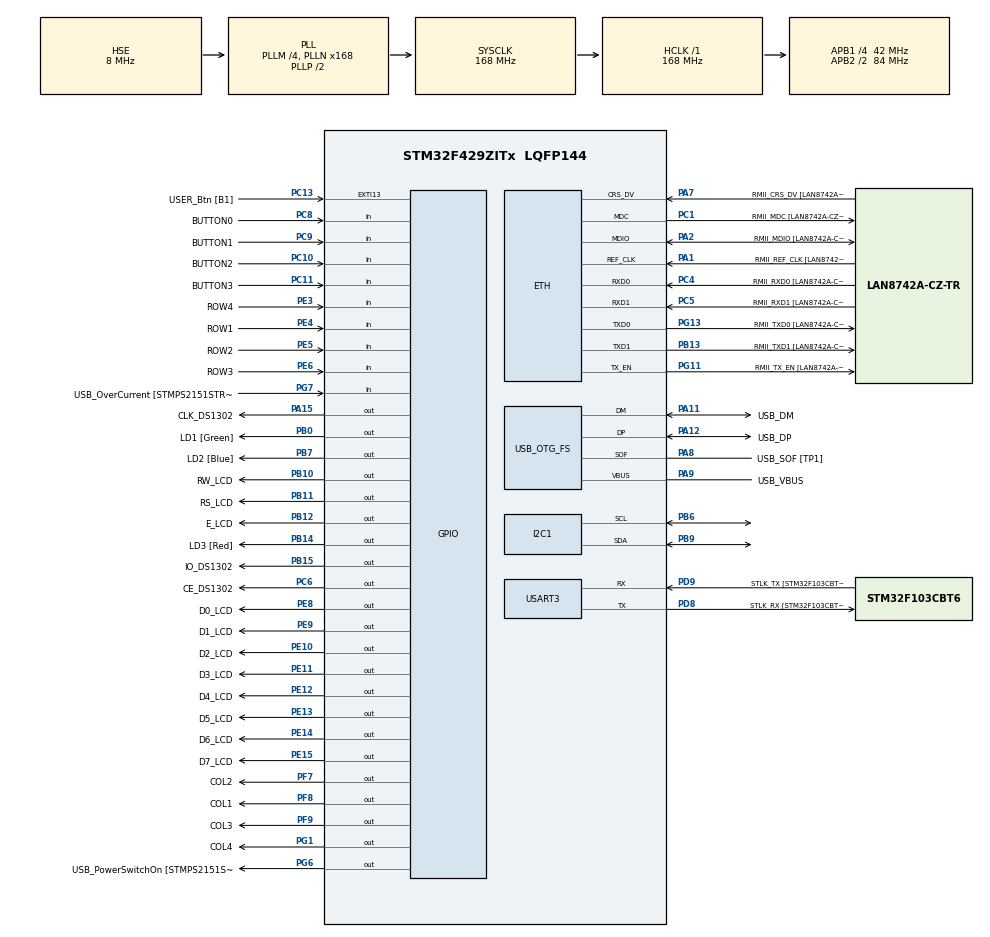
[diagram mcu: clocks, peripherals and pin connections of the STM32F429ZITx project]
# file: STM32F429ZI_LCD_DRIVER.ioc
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ETH.MediaInterface=ETH_MEDIA_INTERFACE_RMII
ETH.PHY_Name=LAN8742A_PHY_ADDRESS
ETH.PHY_Value=0
ETH.PhyAddress=0
FREERTOS.Tasks01=defaultTask,24,128,StartDefaultTask,Default,NULL,Dynamic,NULL,NULL;myTask01,8,128,StartTask01,Default,NULL,Dynamic,NULL,NULL;myTask02,8,128,StartTask02,Default,NULL,Dynamic,NULL,NULL
FREERTOS.configUSE_NEWLIB_REENTRANT=1
FREERTOS.copyHeapFile=1
Mcu.Family=STM32F4
Mcu.Name=STM32F429ZITx
Mcu.Package=LQFP144
NVIC.PriorityGroup=NVIC_PRIORITYGROUP_4
NVIC.TIM1_TRG_COM_TIM11_IRQn=true\:5\:0\:false\:false\:true\:true\:true\:true
NVIC.TIM1_UP_TIM10_IRQn=true\:15\:0\:false\:false\:true\:false\:false\:true
NVIC.TIM4_IRQn=true\:5\:0\:false\:false\:true\:true\:true\:true
NVIC.TimeBase=TIM1_UP_TIM10_IRQn
NVIC.TimeBaseIP=TIM1
PA1.GPIO_Label=RMII_REF_CLK [LAN8742A-CZ-TR_REFCLK0]
PA1.Mode=RMII
PA1.Signal=ETH_REF_CLK
PA10.GPIO_Label=USB_ID
PA10.Signal=USB_OTG_FS_ID
PA11.GPIO_Label=USB_DM
PA11.Mode=Device_Only
PA11.Signal=USB_OTG_FS_DM
PA12.GPIO_Label=USB_DP
PA12.Mode=Device_Only
PA12.Signal=USB_OTG_FS_DP
PA13.GPIO_Label=TMS
PA13.Mode=Serial_Wire
PA13.Signal=SYS_JTMS-SWDIO
PA14.GPIO_Label=TCK
PA14.Mode=Serial_Wire
PA14.Signal=SYS_JTCK-SWCLK
PA15.GPIO_Label=CLK_DS1302
PA15.Signal=GPIO_Output
PA2.GPIO_Label=RMII_MDIO [LAN8742A-CZ-TR_MDIO]
PA2.Mode=RMII
PA2.Signal=ETH_MDIO
PA7.GPIO_Label=RMII_CRS_DV [LAN8742A-CZ-TR_CRS_DV]
PA7.Mode=RMII
PA7.Signal=ETH_CRS_DV
PA8.GPIO_Label=USB_SOF [TP1]
PA8.Mode=Activate_SOF_FS
PA8.Signal=USB_OTG_FS_SOF
PA9.GPIO_Label=USB_VBUS
PA9.Mode=Activate_VBUS
PA9.Signal=USB_OTG_FS_VBUS
PB0.GPIO_Label=LD1 [Green]
PB0.Signal=GPIO_Output
PB10.GPIO_Label=RW_LCD
PB10.Signal=GPIO_Output
PB11.GPIO_Label=RS_LCD
PB11.Signal=GPIO_Output
PB12.GPIO_Label=E_LCD
PB12.Signal=GPIO_Output
PB13.GPIO_Label=RMII_TXD1 [LAN8742A-CZ-TR_TXD1]
PB13.Mode=RMII
PB13.Signal=ETH_TXD1
PB14.GPIO_Label=LD3 [Red]
PB14.Signal=GPIO_Output
PB15.GPIO_Label=IO_DS1302
PB15.Signal=GPIO_Output
PB6.Mode=I2C
PB6.Signal=I2C1_SCL
PB7.GPIO_Label=LD2 [Blue]
PB7.Signal=GPIO_Output
PB9.Mode=I2C
PB9.Signal=I2C1_SDA
PC1.GPIO_Label=RMII_MDC [LAN8742A-CZ-TR_MDC]
PC1.Mode=RMII
PC1.Signal=ETH_MDC
PC10.GPIO_Label=BUTTON2
PC10.Signal=GPIO_Input
PC11.GPIO_Label=BUTTON3
PC11.Signal=GPIO_Input
PC13.GPIO_Label=USER_Btn [B1]
PC13.Signal=GPXTI13
PC14/OSC32_IN.Mode=LSE-External-Oscillator
PC14/OSC32_IN.Signal=RCC_OSC32_IN
PC15/OSC32_OUT.Mode=LSE-External-Oscillator
PC15/OSC32_OUT.Signal=RCC_OSC32_OUT
PC4.GPIO_Label=RMII_RXD0 [LAN8742A-CZ-TR_RXD0]
PC4.Mode=RMII
PC4.Signal=ETH_RXD0
PC5.GPIO_Label=RMII_RXD1 [LAN8742A-CZ-TR_RXD1]
PC5.Mode=RMII
PC5.Signal=ETH_RXD1
PC6.GPIO_Label=CE_DS1302
PC6.Signal=GPIO_Output
PC8.GPIO_Label=BUTTON0
PC8.Signal=GPIO_Input
PC9.GPIO_Label=BUTTON1
PC9.Signal=GPIO_Input
PD8.GPIO_Label=STLK_RX [STM32F103CBT6_PA3]
PD8.Mode=Asynchronous
PD8.Signal=USART3_TX
PD9.GPIO_Label=STLK_TX [STM32F103CBT6_PA2]
PD9.Mode=Asynchronous
PD9.Signal=USART3_RX
PE10.GPIO_Label=D2_LCD
PE10.Signal=GPIO_Output
PE11.GPIO_Label=D3_LCD
PE11.Signal=GPIO_Output
PE12.GPIO_Label=D4_LCD
PE12.Signal=GPIO_Output
PE13.GPIO_Label=D5_LCD
PE13.Signal=GPIO_Output
PE14.GPIO_Label=D6_LCD
PE14.Signal=GPIO_Output
PE15.GPIO_Label=D7_LCD
PE15.Signal=GPIO_Output
PE3.GPIO_Label=ROW4
PE3.GPIO_PuPd=GPIO_PULLDOWN
PE3.Signal=GPIO_Input
PE4.GPIO_Label=ROW1
PE4.GPIO_PuPd=GPIO_PULLDOWN
PE4.Signal=GPIO_Input
PE5.GPIO_Label=ROW2
PE5.GPIO_PuPd=GPIO_PULLDOWN
PE5.Signal=GPIO_Input
PE6.GPIO_Label=ROW3
PE6.GPIO_PuPd=GPIO_PULLDOWN
PE6.Signal=GPIO_Input
PE8.GPIO_Label=D0_LCD
PE8.Signal=GPIO_Output
PE9.GPIO_Label=D1_LCD
PE9.Signal=GPIO_Output
PF7.GPIO_Label=COL2
PF7.Signal=GPIO_Output
PF8.GPIO_Label=COL1
PF8.Signal=GPIO_Output
PF9.GPIO_Label=COL3
PF9.Signal=GPIO_Output
PG1.GPIO_Label=COL4
PG1.Signal=GPIO_Output
PG11.GPIO_Label=RMII_TX_EN [LAN8742A-CZ-TR_TXEN]
PG11.Mode=RMII
PG11.Signal=ETH_TX_EN
PG13.GPIO_Label=RMII_TXD0 [LAN8742A-CZ-TR_TXD0]
PG13.Mode=RMII
PG13.Signal=ETH_TXD0
PG6.GPIO_Label=USB_PowerSwitchOn [STMPS2151STR_EN]
PG6.Signal=GPIO_Output
PG7.GPIO_Label=USB_OverCurrent [STMPS2151STR_FAULT]
PG7.Signal=GPIO_Input
PH0/OSC_IN.GPIO_Label=MCO [STM32F103CBT6_PA8]
PH0/OSC_IN.Mode=HSE-External-Clock-Source
PH0/OSC_IN.Signal=RCC_OSC_IN
PH1/OSC_OUT.Mode=HSE-External-Clock-Source
PH1/OSC_OUT.Signal=RCC_OSC_OUT
ProjectManager.HeapSize=0x200
ProjectManager.StackSize=0x400
ProjectManager.TargetToolchain=STM32CubeIDE
RCC.48MHZClocksFreq_Value=48000000
RCC.AHBFreq_Value=168000000
RCC.APB1CLKDivider=RCC_HCLK_DIV4
RCC.APB1Freq_Value=42000000
RCC.APB1TimFreq_Value=84000000
RCC.APB2CLKDivider=RCC_HCLK_DIV2
RCC.APB2Freq_Value=84000000
RCC.APB2TimCLKDivider=2
RCC.APB2TimFreq_Value=168000000
RCC.CortexFreq_Value=168000000
RCC.HCLKFreq_Value=168000000
RCC.HSE_VALUE=8000000
RCC.HSI_VALUE=16000000
RCC.PLLM=4
RCC.PLLMUL=RCC_PLL_MUL9
RCC.PLLN=168
RCC.PLLQ=7
RCC.PRESCALERUSB=RCC_USBCLKSOURCE_PLL_DIV1_5
RCC.SYSCLKFreq_VALUE=168000000
RCC.SYSCLKSource=RCC_SYSCLKSOURCE_PLLCLK
RCC.SYSCLKSourceVirtual=RCC_SYSCLKSOURCE_PLLCLK
RCC.USBFreq_Value=48000000
RCC.VCOOutputFreq_Value=336000000
TIM11.Period=65535
TIM11.Prescaler=168-1
TIM4.Period=1000
TIM4.Prescaler=168-1
USART3.VirtualMode=VM_ASYNC
USB_OTG_FS.VirtualMode=Device_Only
VP_FREERTOS_VS_CMSIS_V2.Mode=CMSIS_V2
VP_SYS_VS_tim1.Mode=TIM1
VP_TIM11_VS_ClockSourceINT.Mode=Enable_Timer
VP_TIM4_VS_ClockSourceINT.Mode=Internal
board=NUCLEO-F429ZI

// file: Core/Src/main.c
/* USER CODE BEGIN Header */
/**
 ******************************************************************************
 * @file           : main.c
 * @brief          : Main program body
 ******************************************************************************
 * @attention
 *
 * <h2><center>&copy; Copyright (c) 2024 STMicroelectronics.
 * All rights reserved.</center></h2>
 *
 * This software component is licensed by ST under BSD 3-Clause license,
 * the "License"; You may not use this file except in compliance with the
 * License. You may obtain a copy of the License at:
 *                        opensource.org/licenses/BSD-3-Clause
 *
 ******************************************************************************
 */
/* USER CODE END Header */
#include "main.h"
#include "cmsis_os.h"

/* USER CODE BEGIN Includes */
#include "keypad.h"
#include "circularQueue.h"
#include "lcd_datasheet.h"
#include "ds1302.h"
/* USER CODE END Includes */

ETH_HandleTypeDef heth;

I2C_HandleTypeDef hi2c1;

TIM_HandleTypeDef htim4;
TIM_HandleTypeDef htim11;

UART_HandleTypeDef huart3;

PCD_HandleTypeDef hpcd_USB_OTG_FS;

/* Definitions for defaultTask */
osThreadId_t defaultTaskHandle;
const osThreadAttr_t defaultTask_attributes = {
		.name = "defaultTask",
		.stack_size = 128 * 4,
		.priority = (osPriority_t) osPriorityNormal,
};
/* Definitions for myTask01 */
osThreadId_t myTask01Handle;
const osThreadAttr_t myTask01_attributes = {
		.name = "myTask01",
		.stack_size = 128 * 4,
		.priority = (osPriority_t) osPriorityLow,
};
/* Definitions for myTask02 */
osThreadId_t myTask02Handle;
const osThreadAttr_t myTask02_attributes = {
		.name = "myTask02",
		.stack_size = 128 * 4,
		.priority = (osPriority_t) osPriorityLow,
};
/* USER CODE BEGIN PV */
volatile int TIM11_1ms_counter = 0;
volatile int TIM11_sec_counter = 0;
volatile int TIM11_check_cal_overtime = 0;
volatile int TIM4_ds1302_sec_counter = 0;
/* USER CODE END PV */

void SystemClock_Config(void);
static void MX_GPIO_Init(void);
static void MX_ETH_Init(void);
static void MX_USART3_UART_Init(void);
static void MX_USB_OTG_FS_PCD_Init(void);
static void MX_TIM11_Init(void);
static void MX_I2C1_Init(void);
static void MX_TIM4_Init(void);
void StartDefaultTask(void *argument);
void StartTask01(void *argument);
void StartTask02(void *argument);

/* USER CODE BEGIN PFP */
extern Queue keypad_queue;
extern void get_mathequation(void);
extern void i2c_lcd_init(void);
extern void lcd_cal(void);
extern void i2c_lcd_main(void);
extern void ds1302_flash_clock(void);
extern void rtc_lcd_main(void);
extern void lcd_clock_cal(void);
extern void toggle_clock_cal(void);
extern void calculator_main(void);
/* USER CODE END PFP */

/* USER CODE BEGIN 0 */

//------------ printf start -----------------------
#ifdef __GNUC__    // Add for printf
/* With GCC, small printf (option LD Linker->Libraries->Small printf
   set to 'Yes') calls __io_putchar() */
#define PUTCHAR_PROTOTYPE int __io_putchar(int ch)
#else
#define PUTCHAR_PROTOTYPE int fputc(int ch, FILE *f)
#endif /* __GNUC__ */
/**
 * @brief  Retargets the C library printf function to the USART.
 * @param  None
 * @retval None
 */
PUTCHAR_PROTOTYPE   // Add for printf
{
	/* Place your implementation of fputc here */
	/* e.g. write a character to the USART2 and Loop until the end of transmission */
	HAL_UART_Transmit(&huart3, (uint8_t *)&ch, 1, 0xFFFF);

	return ch;
}
//-------------------- printf end --------------------

/* USER CODE END 0 */

int main(void)
{

	/* MCU Configuration--------------------------------------------------------*/

	/* Reset of all peripherals, Initializes the Flash interface and the Systick. */
	HAL_Init();

	/* Configure the system clock */
	SystemClock_Config();

	/* Initialize all configured peripherals */
	MX_GPIO_Init();
	//  MX_ETH_Init();
	MX_USART3_UART_Init();
	MX_USB_OTG_FS_PCD_Init();
	MX_TIM11_Init();
	MX_I2C1_Init();
	MX_TIM4_Init();
	/* USER CODE BEGIN 2 */
	HAL_TIM_Base_Start_IT(&htim11);  // 65.535ms Timer Interrupt
	HAL_TIM_Base_Start_IT(&htim4);  // 1ms Timer Interrupt
	keypadInit();
	i2c_lcd_init();

	ds1302_init_gpio_low();
#if 1
	ds1302_set_time();
	// setting clock
	ds1302_init_time_date();
#endif
	//flash_import_time_date();
	printf("HELLO\n");
	/* USER CODE END 2 */

	/* Init scheduler */
	osKernelInitialize();

	/* Create the thread(s) */
	/* creation of defaultTask */
	defaultTaskHandle = osThreadNew(StartDefaultTask, NULL, &defaultTask_attributes);

	/* creation of myTask01 */
	myTask01Handle = osThreadNew(StartTask01, NULL, &myTask01_attributes);

	/* creation of myTask02 */
	myTask02Handle = osThreadNew(StartTask02, NULL, &myTask02_attributes);

	/* Start scheduler */
	osKernelStart();

	/* We should never get here as control is now taken by the scheduler */
	/* Infinite loop */
	while (1)
	{

	}
}

void SystemClock_Config(void)
{
	RCC_OscInitTypeDef RCC_OscInitStruct = {0};
	RCC_ClkInitTypeDef RCC_ClkInitStruct = {0};

	/** Configure the main internal regulator output voltage
	 */
	__HAL_RCC_PWR_CLK_ENABLE();
	__HAL_PWR_VOLTAGESCALING_CONFIG(PWR_REGULATOR_VOLTAGE_SCALE1);
	/** Initializes the RCC Oscillators according to the specified parameters
	 * in the RCC_OscInitTypeDef structure.
	 */
	RCC_OscInitStruct.OscillatorType = RCC_OSCILLATORTYPE_HSE;
	RCC_OscInitStruct.HSEState = RCC_HSE_BYPASS;
	RCC_OscInitStruct.PLL.PLLState = RCC_PLL_ON;
	RCC_OscInitStruct.PLL.PLLSource = RCC_PLLSOURCE_HSE;
	RCC_OscInitStruct.PLL.PLLM = 4;
	RCC_OscInitStruct.PLL.PLLN = 168;
	RCC_OscInitStruct.PLL.PLLP = RCC_PLLP_DIV2;
	RCC_OscInitStruct.PLL.PLLQ = 7;
	if (HAL_RCC_OscConfig(&RCC_OscInitStruct) != HAL_OK)
	{
		Error_Handler();
	}
	/** Initializes the CPU, AHB and APB buses clocks
	 */
	RCC_ClkInitStruct.ClockType = RCC_CLOCKTYPE_HCLK|RCC_CLOCKTYPE_SYSCLK
			|RCC_CLOCKTYPE_PCLK1|RCC_CLOCKTYPE_PCLK2;
	RCC_ClkInitStruct.SYSCLKSource = RCC_SYSCLKSOURCE_PLLCLK;
	RCC_ClkInitStruct.AHBCLKDivider = RCC_SYSCLK_DIV1;
	RCC_ClkInitStruct.APB1CLKDivider = RCC_HCLK_DIV4;
	RCC_ClkInitStruct.APB2CLKDivider = RCC_HCLK_DIV2;

	if (HAL_RCC_ClockConfig(&RCC_ClkInitStruct, FLASH_LATENCY_5) != HAL_OK)
	{
		Error_Handler();
	}
}

static void MX_ETH_Init(void)
{

	static uint8_t MACAddr[6];

	heth.Instance = ETH;
	heth.Init.AutoNegotiation = ETH_AUTONEGOTIATION_ENABLE;
	heth.Init.Speed = ETH_SPEED_100M;
	heth.Init.DuplexMode = ETH_MODE_FULLDUPLEX;
	heth.Init.PhyAddress = LAN8742A_PHY_ADDRESS;
	MACAddr[0] = 0x00;
	MACAddr[1] = 0x80;
	MACAddr[2] = 0xE1;
	MACAddr[3] = 0x00;
	MACAddr[4] = 0x00;
	MACAddr[5] = 0x00;
	heth.Init.MACAddr = &MACAddr[0];
	heth.Init.RxMode = ETH_RXPOLLING_MODE;
	heth.Init.ChecksumMode = ETH_CHECKSUM_BY_HARDWARE;
	heth.Init.MediaInterface = ETH_MEDIA_INTERFACE_RMII;

	if (HAL_ETH_Init(&heth) != HAL_OK)
	{
		Error_Handler();
	}

}

static void MX_I2C1_Init(void)
{

	hi2c1.Instance = I2C1;
	hi2c1.Init.ClockSpeed = 100000;
	hi2c1.Init.DutyCycle = I2C_DUTYCYCLE_2;
	hi2c1.Init.OwnAddress1 = 0;
	hi2c1.Init.AddressingMode = I2C_ADDRESSINGMODE_7BIT;
	hi2c1.Init.DualAddressMode = I2C_DUALADDRESS_DISABLE;
	hi2c1.Init.OwnAddress2 = 0;
	hi2c1.Init.GeneralCallMode = I2C_GENERALCALL_DISABLE;
	hi2c1.Init.NoStretchMode = I2C_NOSTRETCH_DISABLE;
	if (HAL_I2C_Init(&hi2c1) != HAL_OK)
	{
		Error_Handler();
	}
	/** Configure Analogue filter
	 */
	if (HAL_I2CEx_ConfigAnalogFilter(&hi2c1, I2C_ANALOGFILTER_ENABLE) != HAL_OK)
	{
		Error_Handler();
	}
	/** Configure Digital filter
	 */
	if (HAL_I2CEx_ConfigDigitalFilter(&hi2c1, 0) != HAL_OK)
	{
		Error_Handler();
	}

}

static void MX_TIM4_Init(void)
{

	TIM_ClockConfigTypeDef sClockSourceConfig = {0};
	TIM_MasterConfigTypeDef sMasterConfig = {0};

	htim4.Instance = TIM4;
	htim4.Init.Prescaler = 168-1;
	htim4.Init.CounterMode = TIM_COUNTERMODE_UP;
	htim4.Init.Period = 1000;
	htim4.Init.ClockDivision = TIM_CLOCKDIVISION_DIV1;
	htim4.Init.AutoReloadPreload = TIM_AUTORELOAD_PRELOAD_DISABLE;
	if (HAL_TIM_Base_Init(&htim4) != HAL_OK)
	{
		Error_Handler();
	}
	sClockSourceConfig.ClockSource = TIM_CLOCKSOURCE_INTERNAL;
	if (HAL_TIM_ConfigClockSource(&htim4, &sClockSourceConfig) != HAL_OK)
	{
		Error_Handler();
	}
	sMasterConfig.MasterOutputTrigger = TIM_TRGO_RESET;
	sMasterConfig.MasterSlaveMode = TIM_MASTERSLAVEMODE_DISABLE;
	if (HAL_TIMEx_MasterConfigSynchronization(&htim4, &sMasterConfig) != HAL_OK)
	{
		Error_Handler();
	}

}

static void MX_TIM11_Init(void)
{

	htim11.Instance = TIM11;
	htim11.Init.Prescaler = 168-1;
	htim11.Init.CounterMode = TIM_COUNTERMODE_UP;
	htim11.Init.Period = 65535;
	htim11.Init.ClockDivision = TIM_CLOCKDIVISION_DIV1;
	htim11.Init.AutoReloadPreload = TIM_AUTORELOAD_PRELOAD_DISABLE;
	if (HAL_TIM_Base_Init(&htim11) != HAL_OK)
	{
		Error_Handler();
	}

}

static void MX_USART3_UART_Init(void)
{

	huart3.Instance = USART3;
	huart3.Init.BaudRate = 115200;
	huart3.Init.WordLength = UART_WORDLENGTH_8B;
	huart3.Init.StopBits = UART_STOPBITS_1;
	huart3.Init.Parity = UART_PARITY_NONE;
	huart3.Init.Mode = UART_MODE_TX_RX;
	huart3.Init.HwFlowCtl = UART_HWCONTROL_NONE;
	huart3.Init.OverSampling = UART_OVERSAMPLING_16;
	if (HAL_UART_Init(&huart3) != HAL_OK)
	{
		Error_Handler();
	}

}

static void MX_USB_OTG_FS_PCD_Init(void)
{

	hpcd_USB_OTG_FS.Instance = USB_OTG_FS;
	hpcd_USB_OTG_FS.Init.dev_endpoints = 4;
	hpcd_USB_OTG_FS.Init.speed = PCD_SPEED_FULL;
	hpcd_USB_OTG_FS.Init.dma_enable = DISABLE;
	hpcd_USB_OTG_FS.Init.phy_itface = PCD_PHY_EMBEDDED;
	hpcd_USB_OTG_FS.Init.Sof_enable = ENABLE;
	hpcd_USB_OTG_FS.Init.low_power_enable = DISABLE;
	hpcd_USB_OTG_FS.Init.lpm_enable = DISABLE;
	hpcd_USB_OTG_FS.Init.vbus_sensing_enable = ENABLE;
	hpcd_USB_OTG_FS.Init.use_dedicated_ep1 = DISABLE;
	if (HAL_PCD_Init(&hpcd_USB_OTG_FS) != HAL_OK)
	{
		Error_Handler();
	}

}

static void MX_GPIO_Init(void)
{
	GPIO_InitTypeDef GPIO_InitStruct = {0};

	/* GPIO Ports Clock Enable */
	__HAL_RCC_GPIOE_CLK_ENABLE();
	__HAL_RCC_GPIOC_CLK_ENABLE();
	__HAL_RCC_GPIOF_CLK_ENABLE();
	__HAL_RCC_GPIOH_CLK_ENABLE();
	__HAL_RCC_GPIOA_CLK_ENABLE();
	__HAL_RCC_GPIOB_CLK_ENABLE();
	__HAL_RCC_GPIOG_CLK_ENABLE();
	__HAL_RCC_GPIOD_CLK_ENABLE();

	/*Configure GPIO pin Output Level */
	HAL_GPIO_WritePin(GPIOF, COL2_Pin|COL1_Pin|COL3_Pin, GPIO_PIN_RESET);

	/*Configure GPIO pin Output Level */
	HAL_GPIO_WritePin(GPIOB, LD1_Pin|RW_LCD_Pin|RS_LCD_Pin|E_LCD_Pin
			|LD3_Pin|IO_DS1302_Pin|LD2_Pin, GPIO_PIN_RESET);

	/*Configure GPIO pin Output Level */
	HAL_GPIO_WritePin(GPIOG, COL4_Pin|USB_PowerSwitchOn_Pin, GPIO_PIN_RESET);

	/*Configure GPIO pin Output Level */
	HAL_GPIO_WritePin(GPIOE, D0_LCD_Pin|D1_LCD_Pin|D2_LCD_Pin|D3_LCD_Pin
			|D4_LCD_Pin|D5_LCD_Pin|D6_LCD_Pin|D7_LCD_Pin, GPIO_PIN_RESET);

	/*Configure GPIO pin Output Level */
	HAL_GPIO_WritePin(CE_DS1302_GPIO_Port, CE_DS1302_Pin, GPIO_PIN_RESET);

	/*Configure GPIO pin Output Level */
	HAL_GPIO_WritePin(CLK_DS1302_GPIO_Port, CLK_DS1302_Pin, GPIO_PIN_RESET);

	/*Configure GPIO pins : ROW4_Pin ROW1_Pin ROW2_Pin ROW3_Pin */
	GPIO_InitStruct.Pin = ROW4_Pin|ROW1_Pin|ROW2_Pin|ROW3_Pin;
	GPIO_InitStruct.Mode = GPIO_MODE_INPUT;
	GPIO_InitStruct.Pull = GPIO_PULLDOWN;
	HAL_GPIO_Init(GPIOE, &GPIO_InitStruct);

	/*Configure GPIO pin : USER_Btn_Pin */
	GPIO_InitStruct.Pin = USER_Btn_Pin;
	GPIO_InitStruct.Mode = GPIO_MODE_IT_RISING;
	GPIO_InitStruct.Pull = GPIO_NOPULL;
	HAL_GPIO_Init(USER_Btn_GPIO_Port, &GPIO_InitStruct);

	/*Configure GPIO pins : COL2_Pin COL1_Pin COL3_Pin */
	GPIO_InitStruct.Pin = COL2_Pin|COL1_Pin|COL3_Pin;
	GPIO_InitStruct.Mode = GPIO_MODE_OUTPUT_PP;
	GPIO_InitStruct.Pull = GPIO_NOPULL;
	GPIO_InitStruct.Speed = GPIO_SPEED_FREQ_LOW;
	HAL_GPIO_Init(GPIOF, &GPIO_InitStruct);

	/*Configure GPIO pins : LD1_Pin RW_LCD_Pin RS_LCD_Pin E_LCD_Pin
                           LD3_Pin IO_DS1302_Pin LD2_Pin */
	GPIO_InitStruct.Pin = LD1_Pin|RW_LCD_Pin|RS_LCD_Pin|E_LCD_Pin
			|LD3_Pin|IO_DS1302_Pin|LD2_Pin;
	GPIO_InitStruct.Mode = GPIO_MODE_OUTPUT_PP;
	GPIO_InitStruct.Pull = GPIO_NOPULL;
	GPIO_InitStruct.Speed = GPIO_SPEED_FREQ_LOW;
	HAL_GPIO_Init(GPIOB, &GPIO_InitStruct);

	/*Configure GPIO pins : COL4_Pin USB_PowerSwitchOn_Pin */
	GPIO_InitStruct.Pin = COL4_Pin|USB_PowerSwitchOn_Pin;
	GPIO_InitStruct.Mode = GPIO_MODE_OUTPUT_PP;
	GPIO_InitStruct.Pull = GPIO_NOPULL;
	GPIO_InitStruct.Speed = GPIO_SPEED_FREQ_LOW;
	HAL_GPIO_Init(GPIOG, &GPIO_InitStruct);

	/*Configure GPIO pins : D0_LCD_Pin D1_LCD_Pin D2_LCD_Pin D3_LCD_Pin
                           D4_LCD_Pin D5_LCD_Pin D6_LCD_Pin D7_LCD_Pin */
	GPIO_InitStruct.Pin = D0_LCD_Pin|D1_LCD_Pin|D2_LCD_Pin|D3_LCD_Pin
			|D4_LCD_Pin|D5_LCD_Pin|D6_LCD_Pin|D7_LCD_Pin;
	GPIO_InitStruct.Mode = GPIO_MODE_OUTPUT_PP;
	GPIO_InitStruct.Pull = GPIO_NOPULL;
	GPIO_InitStruct.Speed = GPIO_SPEED_FREQ_LOW;
	HAL_GPIO_Init(GPIOE, &GPIO_InitStruct);

	/*Configure GPIO pin : USB_OverCurrent_Pin */
	GPIO_InitStruct.Pin = USB_OverCurrent_Pin;
	GPIO_InitStruct.Mode = GPIO_MODE_INPUT;
	GPIO_InitStruct.Pull = GPIO_NOPULL;
	HAL_GPIO_Init(USB_OverCurrent_GPIO_Port, &GPIO_InitStruct);

	/*Configure GPIO pin : CE_DS1302_Pin */
	GPIO_InitStruct.Pin = CE_DS1302_Pin;
	GPIO_InitStruct.Mode = GPIO_MODE_OUTPUT_PP;
	GPIO_InitStruct.Pull = GPIO_NOPULL;
	GPIO_InitStruct.Speed = GPIO_SPEED_FREQ_LOW;
	HAL_GPIO_Init(CE_DS1302_GPIO_Port, &GPIO_InitStruct);

	/*Configure GPIO pins : BUTTON0_Pin BUTTON1_Pin BUTTON2_Pin BUTTON3_Pin */
	GPIO_InitStruct.Pin = BUTTON0_Pin|BUTTON1_Pin|BUTTON2_Pin|BUTTON3_Pin;
	GPIO_InitStruct.Mode = GPIO_MODE_INPUT;
	GPIO_InitStruct.Pull = GPIO_NOPULL;
	HAL_GPIO_Init(GPIOC, &GPIO_InitStruct);

	/*Configure GPIO pin : CLK_DS1302_Pin */
	GPIO_InitStruct.Pin = CLK_DS1302_Pin;
	GPIO_InitStruct.Mode = GPIO_MODE_OUTPUT_PP;
	GPIO_InitStruct.Pull = GPIO_NOPULL;
	GPIO_InitStruct.Speed = GPIO_SPEED_FREQ_LOW;
	HAL_GPIO_Init(CLK_DS1302_GPIO_Port, &GPIO_InitStruct);

}

void StartDefaultTask(void *argument)
{
	/* USER CODE BEGIN 5 */
	/* Infinite loop */
	for(;;)
	{
		toggle_clock_cal();
		lcd_clock_cal();
		ds1302_flash_clock();

		osDelay(1);
	}
	/* USER CODE END 5 */
}

void StartTask01(void *argument)
{
	/* USER CODE BEGIN StartTask01 */
	/* Infinite loop */
	for(;;)
	{
//		get_mathequation();
//		ds1302_flash_clock();
		osDelay(1);
	}
	/* USER CODE END StartTask01 */
}

void StartTask02(void *argument)
{
	/* USER CODE BEGIN StartTask02 */
	/* Infinite loop */
	for(;;)
	{
//		lcd_clock_cal();
//		toggle_clock_cal();
		osDelay(1);
	}
	/* USER CODE END StartTask02 */
}

void HAL_TIM_PeriodElapsedCallback(TIM_HandleTypeDef *htim)
{
	if (htim->Instance == TIM1) {
		HAL_IncTick();
	}
	/* USER CODE BEGIN Callback 1 */
	if (htim->Instance == TIM11)
	{
		uint8_t key_value;

		HAL_GPIO_TogglePin(LD1_GPIO_Port, LD1_Pin);
		key_value = keypadScan();

		if (key_value) // key_value >= 1
		{
			Enqueue(&keypad_queue, key_value); // insult circular queue
		}

		TIM11_1ms_counter++;

		if (TIM11_1ms_counter >= 16)
		{
			TIM11_1ms_counter = 0;
			TIM11_sec_counter++;

			TIM11_check_cal_overtime++;
		}

	}

	if (htim->Instance == TIM4)
	{
		TIM4_ds1302_sec_counter++;  // ADD_PSJ_0930
	}
	/* USER CODE END Callback 1 */
}

void Error_Handler(void)
{
	__disable_irq();
	while (1)
	{
	}
}

/************************ (C) COPYRIGHT STMicroelectronics *****END OF FILE****/
